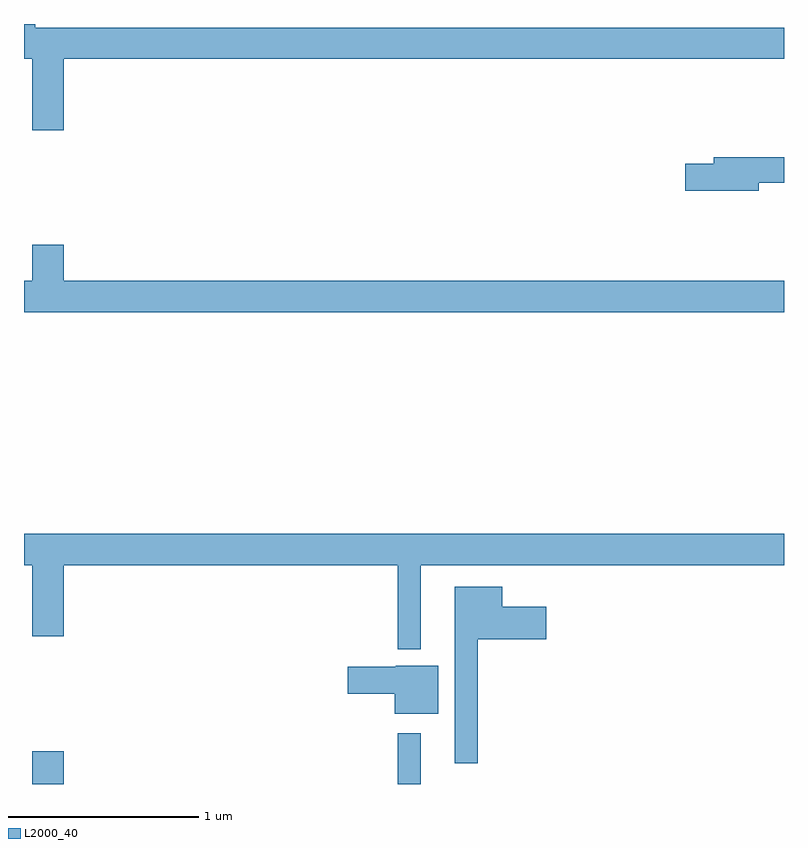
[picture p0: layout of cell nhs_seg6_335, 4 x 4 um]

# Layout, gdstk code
import gdstk
lib = gdstk.Library(unit=1e-6, precision=1e-09)
def R(c, l, rs):  # rectangles x0, y0, x1, y1
    for r in rs: c.add(gdstk.rectangle(r[:2], r[2:], *l))
def P(c, l, *ps):  # polygons
    for p in ps: c.add(gdstk.Polygon(p, *l))
L2000_40 = (2000, 40)

nhs_seg6_335 = lib.new_cell('nhs_seg6_335')
R(nhs_seg6_335, L2000_40, [(129.044,963.5,129.208,963.673), (130.968,963.5,131.089,963.766)])
P(nhs_seg6_335, L2000_40, [(129.208,967.316),(133,967.316),(133,967.48),(129.059,967.48),(129.059,967.5),(129,967.5),(129,967.316),(129.044,967.316),(129.044,966.942),(129.208,966.942)],
  [(132.868,966.664),(133,966.664),(133,966.8),(132.629,966.8),(132.629,966.764),(132.48,966.764),(132.48,966.622),(132.868,966.622)],
  [(133,966.148),(129.208,966.148),(129.208,966.337),(129.044,966.337),(129.044,966.148),(129,966.148),(129,965.984),(133,965.984)],
  [(131.089,964.652),(133,964.652),(133,964.816),(129,964.816),(129,964.652),(129.044,964.652),(129.044,964.278),(129.208,964.278),(129.208,964.652),(130.968,964.652),(130.968,964.208),(131.089,964.208)],
  [(131.389,964.262),(131.749,964.262),(131.749,964.432),(131.518,964.432),(131.518,964.537),(131.267,964.537),(131.267,963.609),(131.389,963.609)],
  [(131.179,964.123),(130.956,964.123),(130.956,964.118),(130.704,964.118),(130.704,963.976),(130.952,963.976),(130.952,963.869),(131.179,963.869)])

lib.write_gds('nhs_seg6_335.gds')
